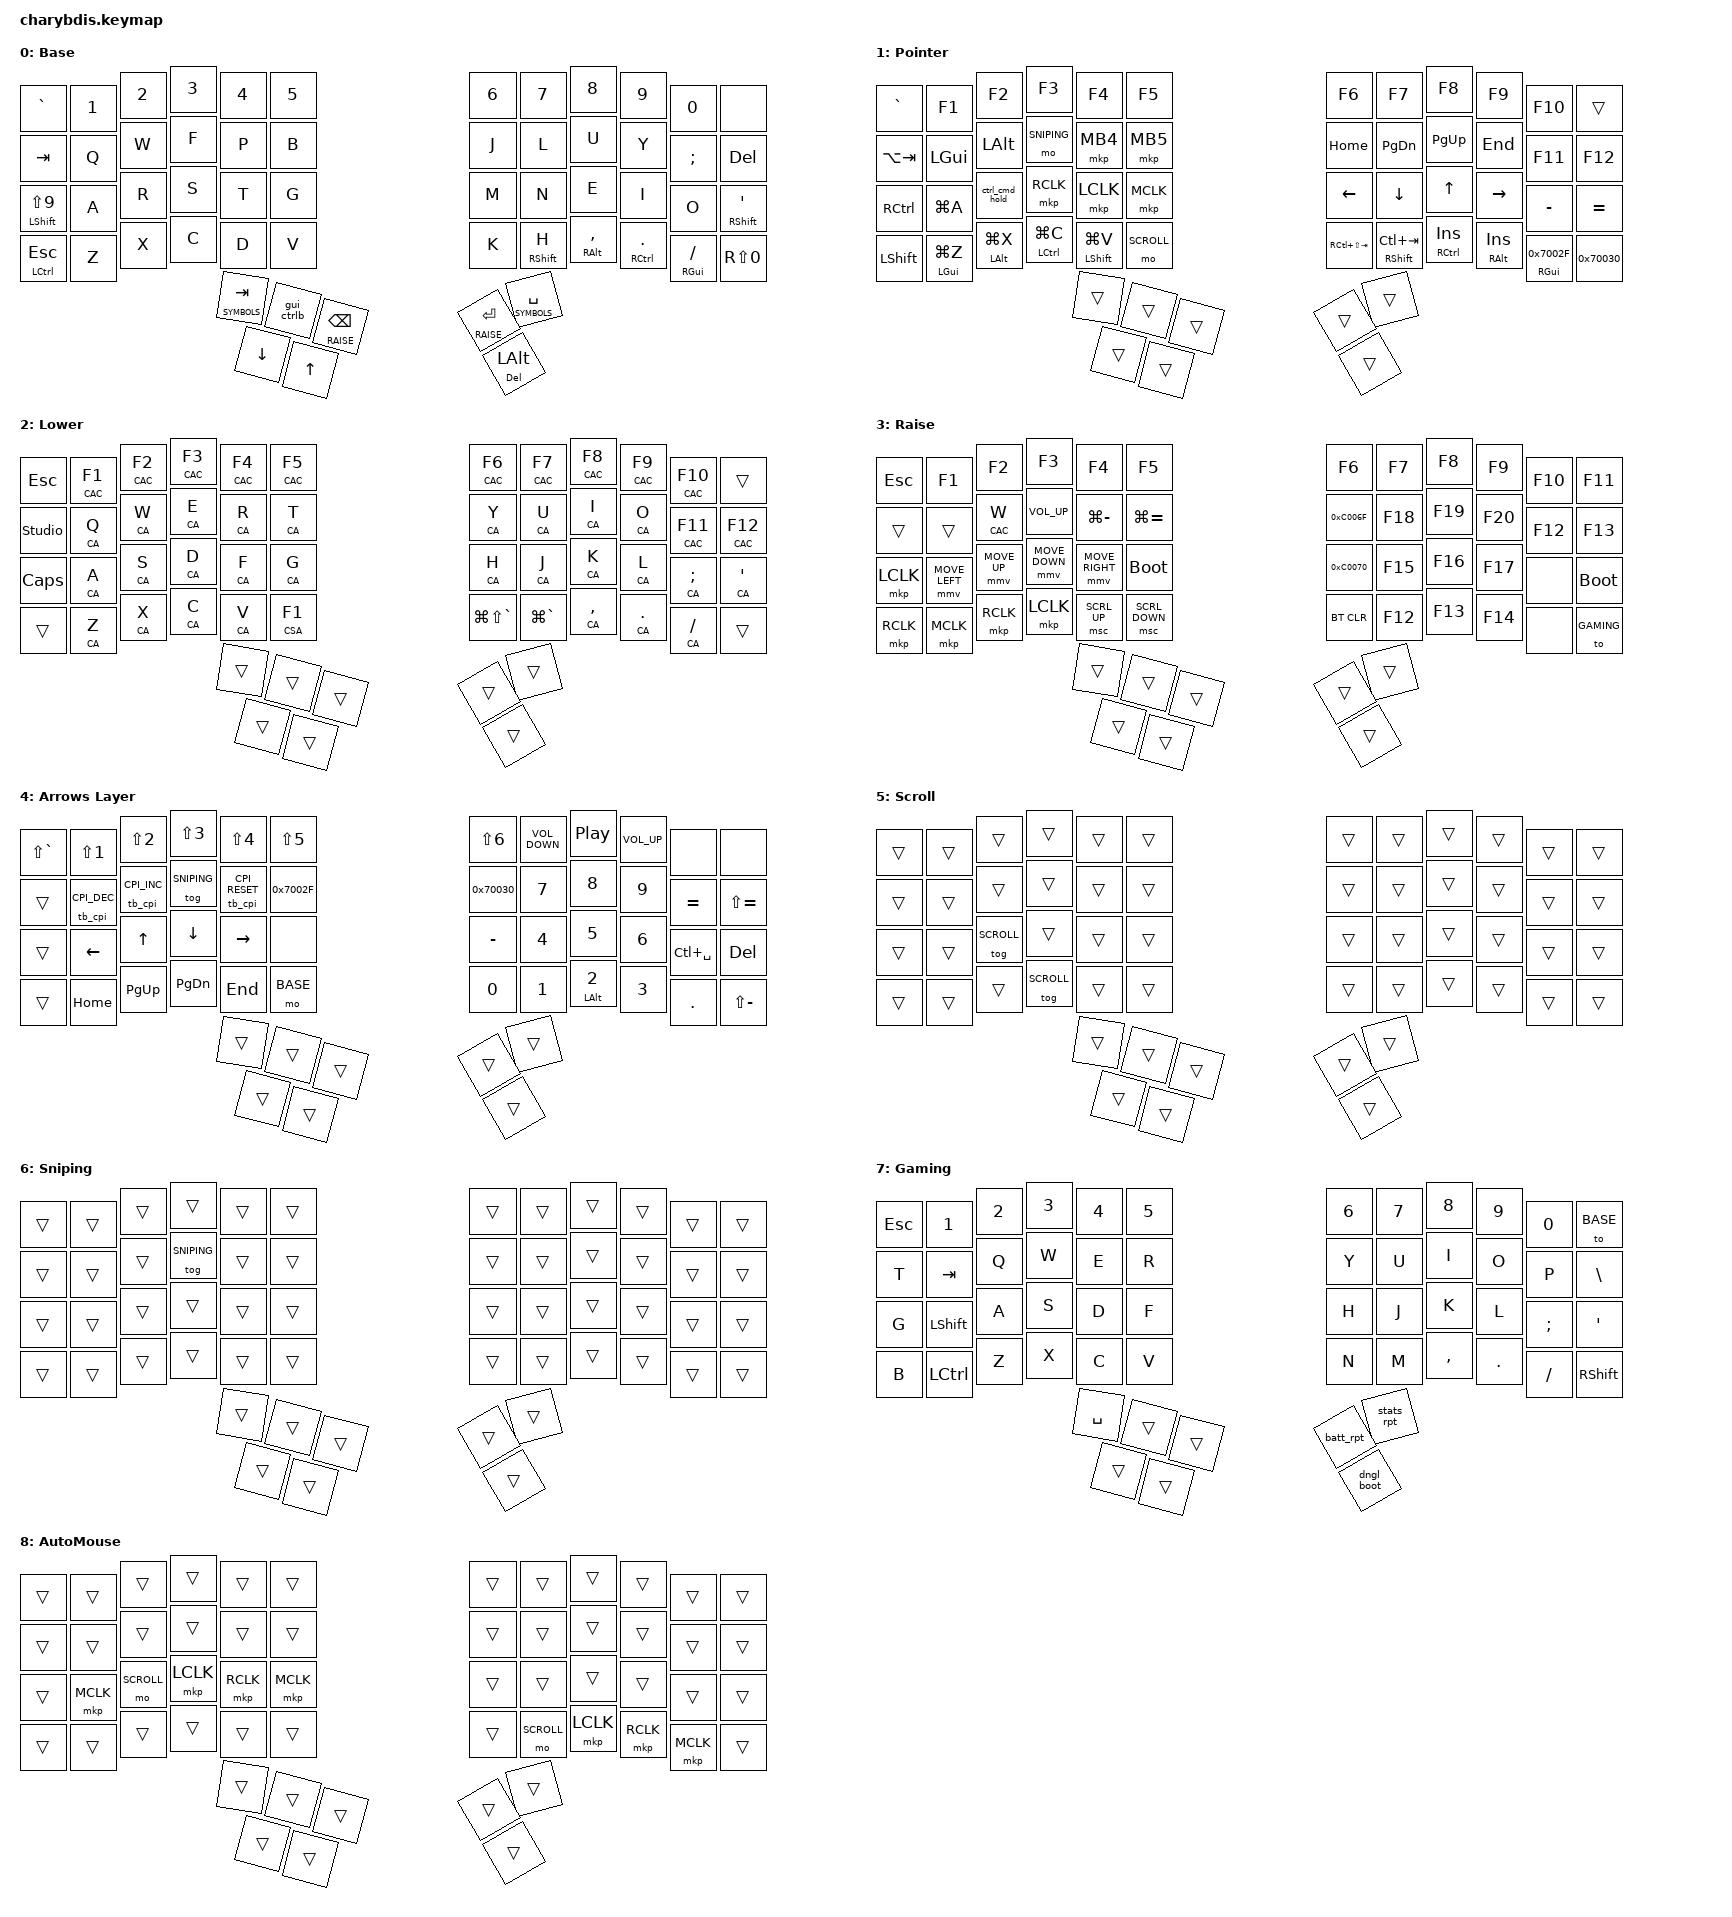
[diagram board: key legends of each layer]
// Pointer-key speed. pointing.h guards this with #ifndef, so defining it before the
// include wins, and MOVE_UP/DOWN/LEFT/RIGHT all scale together instead of four
// hand-edited MOVE_X()/MOVE_Y() calls drifting apart.
//
// 600 stock -> 900 -> 2250, the last being 2.5x on top of the 900. With macOS
// acceleration off a count maps to a point, so 2250 crosses a 2560-point screen in
// about a second. This is the ceiling, not the initial nudge: the mmv node ramps over
// time-to-max-speed-ms = 300 with a linear exponent, so raising it makes a brief tap
// coarser too, not just a held key faster.
#define ZMK_POINTING_DEFAULT_MOVE_VAL 2250

// Key-driven scroll speed, feeding SCRL_UP / SCRL_DOWN. 10 stock, tried 40/30/22,
// settled at 15 by feel. Separate knob from the trackball's scroll, which is set by the
// divisor in charybdis_trackball_processors.dtsi and is unaffected by this.
#define ZMK_POINTING_DEFAULT_SCRL_VAL 15

#include <dt-bindings/zmk/mouse.h>
#include <behaviors/mouse_keys.dtsi>
#include <behaviors.dtsi>
#include <dt-bindings/zmk/bt.h>
#include <dt-bindings/zmk/keys.h>
#include <dt-bindings/zmk/outputs.h>
#include <dt-bindings/zmk/pointing.h>
#include <dt-bindings/charybdis/cpi.h>

/ {
    chosen { zmk,physical-layout = &charybdis_6col_layout; };
};

&mt {
    quick-tap-ms = <200>;
    flavor = "tap-preferred";
    tapping-term-ms = <170>;
};

&lt {
    quick-tap-ms = <200>;
    flavor = "tap-preferred";
    tapping-term-ms = <170>;
};

// Layer definitions
#define BASE 0
#define POINTER 1
#define LOWER 2
#define RAISE 3
#define SYMBOLS 4
#define SCROLL 5
#define SNIPING 6
#define GAMING 7
#define AUTO_MOUSE 8   // activated by trackball motion, not by a key -- see charybdis_trackball_processors.dtsi

/ {
  behaviors {
    // Hold-tap behavior for layer with tap-preferred
    blt: blt {
      compatible = "zmk,behavior-hold-tap";
      #binding-cells = <2>;
      flavor = "tap-preferred";
      tapping-term-ms = <200>;
      quick-tap-ms = <300>;
      require-prior-idle-ms = <100>;
      bindings = <&mo>, <&kp>;
    };

    // Tap-dance for GUI/Ctrl+B
    gui_ctrlb: gui_ctrlb {
      compatible = "zmk,behavior-tap-dance";
      #binding-cells = <0>;
      tapping-term-ms = <200>;
      bindings = <&kp LGUI>, <&kp LC(B)>;
    };

    // Tap/hold Alt, double-tap Ctrl+Shift+Z
    lalt_dt: lalt_dt {
      compatible = "zmk,behavior-tap-dance";
      #binding-cells = <0>;
      tapping-term-ms = <200>;
      bindings = <&kp LALT>, <&kp LC(LS(Z))>;
    };

    // Home row mods - Left hand
    hml: home_row_mod_left {
      compatible = "zmk,behavior-hold-tap";
      #binding-cells = <2>;
      flavor = "balanced";
      require-prior-idle-ms = <150>;
      tapping-term-ms = <140>;
      quick-tap-ms = <175>;
      bindings = <&kp>, <&kp>;
      hold-trigger-key-positions = <6 7 8 9 10 11 18 19 20 21 22 23 30 31 32 33 34 35 42 43 44 45 46 47 53 54 55>; // Right side keys
      hold-trigger-on-release;
    };

    // Home row mods - Right hand
    hmr: home_row_mod_right {
      compatible = "zmk,behavior-hold-tap";
      #binding-cells = <2>;
      flavor = "balanced";
      require-prior-idle-ms = <150>;
      tapping-term-ms = <140>;
      quick-tap-ms = <175>;
      bindings = <&kp>, <&kp>;
      hold-trigger-key-positions = <0 1 2 3 4 5 12 13 14 15 16 17 24 25 26 27 28 29 36 37 38 39 40 41 48 49 50 51 52>; // Left side keys
      hold-trigger-on-release;
    };
  };

  macros {
    // Ctrl+Alt+Cmd macro
    CAC: CAC {
      compatible = "zmk,behavior-macro-one-param";
      #binding-cells = <1>;
      bindings
        = <&macro_press &kp LCTRL &kp LALT &kp LGUI>
        , <&macro_param_1to1>
        , <&macro_tap &kp MACRO_PLACEHOLDER>
        , <&macro_release &kp LCTRL &kp LALT &kp LGUI>
        ;
    };

    // Ctrl+Shift+Alt macro
    CSA: CSA {
      compatible = "zmk,behavior-macro-one-param";
      #binding-cells = <1>;
      bindings
        = <&macro_press &kp LCTRL &kp LSHIFT &kp LALT>
        , <&macro_param_1to1>
        , <&macro_tap &kp MACRO_PLACEHOLDER>
        , <&macro_release &kp LCTRL &kp LSHIFT &kp LALT>
        ;
    };

    // Ctrl+Alt macro
    CA: CA {
      compatible = "zmk,behavior-macro-one-param";
      #binding-cells = <1>;
      bindings
        = <&macro_press &kp LCTRL &kp LALT>
        , <&macro_param_1to1>
        , <&macro_tap &kp MACRO_PLACEHOLDER>
        , <&macro_release &kp LCTRL &kp LALT>
        ;
    };

    // Hold Ctrl+Cmd+Left Click while key is pressed (for mouse drag window actions)
    ctrl_cmd_hold: ctrl_cmd_hold {
      compatible = "zmk,behavior-macro";
      wait-ms = <0>;
      tap-ms = <10>;
      #binding-cells = <0>;
      bindings
        = <&macro_press &kp LCTRL &kp LGUI &mkp LCLK>
        , <&macro_pause_for_release>
        , <&macro_release &mkp LCLK &kp LCTRL &kp LGUI>
        ;
    };
  };

  combos {
    compatible = "zmk,combos";
    timeout-ms = <20>;
    require-prior-idle-ms = <250>;

    // Studio Unlock Combo - all three right thumb keys
    combo_studio_unlock {
      timeout-ms = <50>;
      key-positions = <53 54 55>;
      bindings = <&studio_unlock>;
    };

    // Gaming layer toggle combo - keys 49, 55, 54
    combo_gaming_toggle {
      timeout-ms = <50>;
      key-positions = <49 55 54>;
      bindings = <&tog GAMING>;
    };

  };

  /*
   * Generated from a ZMK Studio export of the live keyboard (2026-08-31), so the repo
   * now matches what was actually being typed on rather than what was last written
   * here. Everything below had drifted: the thumb cluster, Shift/Ctrl placement, the
   * symbol row, and the clicks and scroll added to AutoMouse from an editor.
   *
   * That drift was invisible and cost real time -- edits made here were silently
   * masked by per-position overrides in the central's NVS, which is also why they
   * vanished the moment the central changed from the dongle to the right half.
   *
   * Keep it that way: make changes HERE and flash, or make them in an editor and
   * re-export into this file. Do not let the two diverge again.
   *
   * Key positions
   * ╭────┬────┬────┬────┬────┬────╮      ╭────┬────┬────┬────┬────┬────╮
   * │  0 │  1 │  2 │  3 │  4 │  5 │      │  6 │  7 │  8 │  9 │ 10 │ 11 │
   * │ 12 │ 13 │ 14 │ 15 │ 16 │ 17 │      │ 18 │ 19 │ 20 │ 21 │ 22 │ 23 │
   * │ 24 │ 25 │ 26 │ 27 │ 28 │ 29 │      │ 30 │ 31 │ 32 │ 33 │ 34 │ 35 │
   * │ 36 │ 37 │ 38 │ 39 │ 40 │ 41 │      │ 42 │ 43 │ 44 │ 45 │ 46 │ 47 │
   * ╰────┴────┴────┴────┴────┴────╯      ╰────┴────┴────┴────┴────┴────╯
   *      ╰ 48 │ 49 │ 50 │ 51 │ 52 ╯      ╰ 53 │ 54 │ 55 ╯
   */
  keymap {
    compatible = "zmk,keymap";

    base_layer {
      label = "BASE";
      display-name = "Base";
      bindings = <
// ----------------------------------------------------------------------------------------------------------------------
    &kp GRAVE                     &kp NUMBER_1                  &kp NUMBER_2                  &kp NUMBER_3                  &kp NUMBER_4                  &kp NUMBER_5                    &kp NUMBER_6                  &kp NUMBER_7                  &kp NUMBER_8                  &kp NUMBER_9                  &kp NUMBER_0                  &none
    &kp TAB                       &kp Q                         &kp W                         &kp F                         &kp P                         &kp B                           &kp J                         &kp L                         &kp U                         &kp Y                         &kp SEMICOLON                 &kp DELETE
    &mt LEFT_SHIFT LS(NUMBER_9)   &kp A                         &kp R                         &kp S                         &kp T                         &kp G                           &kp M                         &kp N                         &kp E                         &kp I                         &kp O                         &mt RIGHT_SHIFT SINGLE_QUOTE
    &hml LEFT_CONTROL ESCAPE      &kp Z                         &kp X                         &kp C                         &kp D                         &kp V                           &kp K                         &hmr RIGHT_SHIFT H            &hmr RIGHT_ALT COMMA          &hmr RIGHT_CONTROL PERIOD     &hmr RIGHT_GUI SLASH          &kp RS(NUMBER_0)
                                  &lt RAISE BACKSPACE           &kp UP_ARROW                  &lt SYMBOLS TAB               &gui_ctrlb                    &kp DOWN_ARROW                  &hml DELETE LEFT_ALT          &blt SYMBOLS SPACE            &blt RAISE RETURN
// ----------------------------------------------------------------------------------------------------------------------
      >;
    };

    pointer_layer {
      label = "POINTER";
      display-name = "Pointer";
      bindings = <
// ----------------------------------------------------------------------------------------------------------------------
    &kp GRAVE                  &kp F1                     &kp F2                     &kp F3                     &kp F4                     &kp F5                       &kp F6                     &kp F7                     &kp F8                     &kp F9                     &kp F10                    &trans
    &kp LA(TAB)                &kp LEFT_GUI               &kp LEFT_ALT               &mo SNIPING                &mkp MB4                   &mkp MB5                     &kp HOME                   &kp PAGE_DOWN              &kp PAGE_UP                &kp END                    &kp F11                    &kp F12
    &kp RIGHT_CONTROL          &kp LG(A)                  &ctrl_cmd_hold             &mkp RCLK                  &mkp LCLK                  &mkp MCLK                    &kp LEFT_ARROW             &kp DOWN_ARROW             &kp UP_ARROW               &kp RIGHT_ARROW            &kp MINUS                  &kp EQUAL
    &kp LEFT_SHIFT             &hml LEFT_GUI LG(Z)        &hml LEFT_ALT LG(X)        &hml LEFT_CONTROL LG(C)    &hml LEFT_SHIFT LG(V)      &mo SCROLL                   &kp RC(LS(TAB))            &hmr RIGHT_SHIFT LC(TAB)   &hmr RIGHT_CONTROL INSERT  &hmr RIGHT_ALT INSERT      &hmr RIGHT_GUI 0x7002F     &kp 0x70030
                               &trans                     &trans                     &trans                     &trans                     &trans                       &trans                     &trans                     &trans
// ----------------------------------------------------------------------------------------------------------------------
      >;
    };

    lower_layer {
      label = "LOWER";
      display-name = "Lower";
      bindings = <
// ----------------------------------------------------------------------------------------------------------------------
    &kp ESCAPE         &CAC F1            &CAC F2            &CAC F3            &CAC F4            &CAC F5              &CAC F6            &CAC F7            &CAC F8            &CAC F9            &CAC F10           &trans
    &studio_unlock     &CA Q              &CA W              &CA E              &CA R              &CA T                &CA Y              &CA U              &CA I              &CA O              &CAC F11           &CAC F12
    &kp CAPSLOCK       &CA A              &CA S              &CA D              &CA F              &CA G                &CA H              &CA J              &CA K              &CA L              &CA SEMICOLON      &CA SINGLE_QUOTE
    &trans             &CA Z              &CA X              &CA C              &CA V              &CSA F1              &kp LG(LS(GRAVE))  &kp LG(GRAVE)      &CA COMMA          &CA PERIOD         &CA SLASH          &trans
                       &trans             &trans             &trans             &trans             &trans               &trans             &trans             &trans
// ----------------------------------------------------------------------------------------------------------------------
      >;
    };

    raise_layer {
      label = "RAISE";
      display-name = "Raise";
      bindings = <
// ----------------------------------------------------------------------------------------------------------------------
    &kp ESCAPE       &kp F1           &kp F2           &kp F3           &kp F4           &kp F5             &kp F6           &kp F7           &kp F8           &kp F9           &kp F10          &kp F11
    &trans           &trans           &CAC W           &kp C_VOLUME_UP  &kp LG(MINUS)    &kp LG(EQUAL)      &kp 0xC006F      &kp F18          &kp F19          &kp F20          &kp F12          &kp F13
    &mkp LCLK        &mmv MOVE_LEFT   &mmv MOVE_UP     &mmv MOVE_DOWN   &mmv MOVE_RIGHT  &bootloader        &kp 0xC0070      &kp F15          &kp F16          &kp F17          &none            &bootloader
    &mkp RCLK        &mkp MCLK        &mkp RCLK        &mkp LCLK        &msc SCRL_UP     &msc SCRL_DOWN     &bt BT_CLR       &kp F12          &kp F13          &kp F14          &none            &to GAMING
                     &trans           &trans           &trans           &trans           &trans             &trans           &trans           &trans
// ----------------------------------------------------------------------------------------------------------------------
      >;
    };

    symbols_layer {
      label = "ARROWS_LAYER";
      display-name = "Arrows Layer";
      bindings = <
// ----------------------------------------------------------------------------------------------------------------------
    &kp LS(GRAVE)          &kp LS(NUMBER_1)       &kp LS(NUMBER_2)       &kp LS(NUMBER_3)       &kp LS(NUMBER_4)       &kp LS(NUMBER_5)         &kp LS(NUMBER_6)       &kp C_VOLUME_DOWN      &kp C_PLAY_PAUSE       &kp C_VOLUME_UP        &none                  &none
    &trans                 &tb_cpi CPI_DEC        &tb_cpi CPI_INC        &tog SNIPING           &tb_cpi CPI_RESET      &kp 0x7002F              &kp 0x70030            &kp NUMBER_7           &kp NUMBER_8           &kp NUMBER_9           &kp EQUAL              &kp LS(EQUAL)
    &trans                 &kp LEFT_ARROW         &kp UP_ARROW           &kp DOWN_ARROW         &kp RIGHT_ARROW        &none                    &kp MINUS              &kp NUMBER_4           &kp NUMBER_5           &kp NUMBER_6           &kp LC(SPACE)          &kp DELETE
    &trans                 &kp HOME               &kp PAGE_UP            &kp PAGE_DOWN          &kp END                &mo BASE                 &kp NUMBER_0           &kp NUMBER_1           &mt LEFT_ALT NUMBER_2  &kp NUMBER_3           &kp PERIOD             &kp LS(MINUS)
                           &trans                 &trans                 &trans                 &trans                 &trans                   &trans                 &trans                 &trans
// ----------------------------------------------------------------------------------------------------------------------
      >;
    };

    scroll_layer {
      label = "SCROLL";
      display-name = "Scroll";
      bindings = <
// ----------------------------------------------------------------------------------------------------------------------
    &trans       &trans       &trans       &trans       &trans       &trans         &trans       &trans       &trans       &trans       &trans       &trans
    &trans       &trans       &trans       &trans       &trans       &trans         &trans       &trans       &trans       &trans       &trans       &trans
    &trans       &trans       &tog SCROLL  &trans       &trans       &trans         &trans       &trans       &trans       &trans       &trans       &trans
    &trans       &trans       &trans       &tog SCROLL  &trans       &trans         &trans       &trans       &trans       &trans       &trans       &trans
                 &trans       &trans       &trans       &trans       &trans         &trans       &trans       &trans
// ----------------------------------------------------------------------------------------------------------------------
      >;
    };

    sniping_layer {
      label = "SNIPING";
      display-name = "Sniping";
      bindings = <
// ----------------------------------------------------------------------------------------------------------------------
    &trans        &trans        &trans        &trans        &trans        &trans          &trans        &trans        &trans        &trans        &trans        &trans
    &trans        &trans        &trans        &tog SNIPING  &trans        &trans          &trans        &trans        &trans        &trans        &trans        &trans
    &trans        &trans        &trans        &trans        &trans        &trans          &trans        &trans        &trans        &trans        &trans        &trans
    &trans        &trans        &trans        &trans        &trans        &trans          &trans        &trans        &trans        &trans        &trans        &trans
                  &trans        &trans        &trans        &trans        &trans          &trans        &trans        &trans
// ----------------------------------------------------------------------------------------------------------------------
      >;
    };

    gaming_layer {
      label = "GAMING";
      display-name = "Gaming";
      bindings = <
// ----------------------------------------------------------------------------------------------------------------------
    &kp ESCAPE        &kp NUMBER_1      &kp NUMBER_2      &kp NUMBER_3      &kp NUMBER_4      &kp NUMBER_5        &kp NUMBER_6      &kp NUMBER_7      &kp NUMBER_8      &kp NUMBER_9      &kp NUMBER_0      &to BASE
    &kp T             &kp TAB           &kp Q             &kp W             &kp E             &kp R               &kp Y             &kp U             &kp I             &kp O             &kp P             &kp BACKSLASH
    &kp G             &kp LEFT_SHIFT    &kp A             &kp S             &kp D             &kp F               &kp H             &kp J             &kp K             &kp L             &kp SEMICOLON     &kp SINGLE_QUOTE
    &kp B             &kp LEFT_CONTROL  &kp Z             &kp X             &kp C             &kp V               &kp N             &kp M             &kp COMMA         &kp PERIOD        &kp SLASH         &kp RIGHT_SHIFT
                      &trans            &trans            &kp SPACE         &trans            &trans              &dngl_boot            &stats_rpt            &batt_rpt
// ----------------------------------------------------------------------------------------------------------------------
      >;
    };

    auto_mouse_layer {
      label = "AUTOMOUSE";
      display-name = "AutoMouse";
      bindings = <
// ----------------------------------------------------------------------------------------------------------------------
    &trans      &trans      &trans      &trans      &trans      &trans        &trans      &trans      &trans      &trans      &trans      &trans
    &trans      &trans      &trans      &trans      &trans      &trans        &trans      &trans      &trans      &trans      &trans      &trans
    &trans      &mkp MCLK   &mo SCROLL  &mkp LCLK   &mkp RCLK   &mkp MCLK     &trans      &trans      &trans      &trans      &trans      &trans
    &trans      &trans      &trans      &trans      &trans      &trans        &trans      &mo SCROLL  &mkp LCLK   &mkp RCLK   &mkp MCLK   &trans
                &trans      &trans      &trans      &trans      &trans        &trans      &trans      &trans
// ----------------------------------------------------------------------------------------------------------------------
      >;
    };
  };
};
